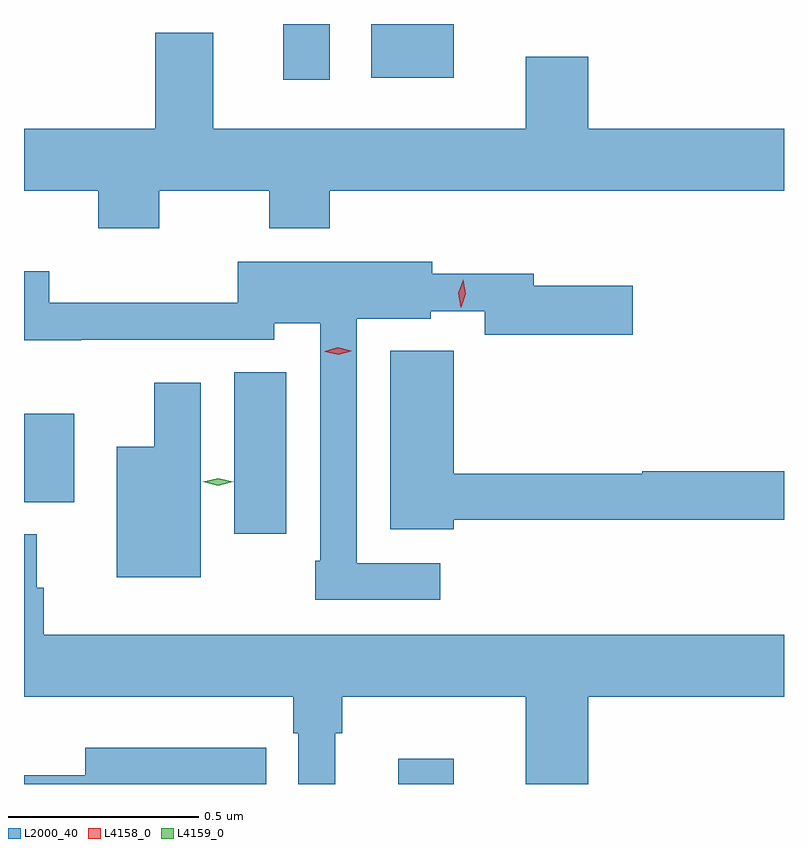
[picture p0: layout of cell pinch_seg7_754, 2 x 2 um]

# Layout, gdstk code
import gdstk
lib = gdstk.Library(unit=1e-6, precision=1e-09)
def R(c, l, rs):  # rectangles x0, y0, x1, y1
    for r in rs: c.add(gdstk.rectangle(r[:2], r[2:], *l))
def P(c, l, *ps):  # polygons
    for p in ps: c.add(gdstk.Polygon(p, *l))
L2000_40 = (2000, 40)
L4158_0 = (4158, 0)
L4159_0 = (4159, 0)

pinch_seg7_754 = lib.new_cell('pinch_seg7_754')
R(pinch_seg7_754, L2000_40, [(296.54,999.055,296.686,999.121), (296.108,999.714,296.245,1000.139), (295.555,999.797,295.687,1000.03), (296.237,1000.908,296.359,1001.055), (296.469,1000.913,296.686,1001.055)])
P(pinch_seg7_754, L2000_40, [(295.911,1000.616),(296.2,1000.616),(296.2,1000.517),(296.36,1000.517),(296.36,1000.616),(297.555,1000.616),(297.555,1000.78),(297.04,1000.78),(297.04,1000.969),(296.876,1000.969),(296.876,1000.78),(296.053,1000.78),(296.053,1001.032),(295.901,1001.032),(295.901,1000.78),(295.555,1000.78),(295.555,1000.616),(295.751,1000.616),(295.751,1000.517),(295.911,1000.517)],
  [(296.65,999.636),(296.43,999.636),(296.43,1000.28),(296.625,1000.28),(296.625,1000.299),(296.768,1000.299),(296.768,1000.237),(297.157,1000.237),(297.157,1000.366),(296.896,1000.366),(296.896,1000.398),(296.629,1000.398),(296.629,1000.429),(296.118,1000.429),(296.118,1000.322),(295.622,1000.322),(295.622,1000.405),(295.555,1000.405),(295.555,1000.223),(295.705,1000.223),(295.705,1000.224),(296.214,1000.224),(296.214,1000.268),(296.334,1000.268),(296.334,999.643),(296.322,999.643),(296.322,999.54),(296.65,999.54)],
  [(296.686,999.75),(297.555,999.75),(297.555,999.878),(297.182,999.878),(297.182,999.871),(296.686,999.871),(296.686,1000.195),(296.519,1000.195),(296.519,999.725),(296.686,999.725)],
  [(296.02,1000.111),(295.898,1000.111),(295.898,999.943),(295.799,999.943),(295.799,999.599),(296.02,999.599)],
  [(295.589,999.572),(295.589,999.712),(295.555,999.712),(295.555,999.284),(296.264,999.284),(296.264,999.188),(296.277,999.188),(296.277,999.055),(296.374,999.055),(296.374,999.188),(296.393,999.188),(296.393,999.284),(296.876,999.284),(296.876,999.055),(297.04,999.055),(297.04,999.284),(297.555,999.284),(297.555,999.448),(295.607,999.448),(295.607,999.572)],
  [(296.192,999.15),(296.084,999.15),(296.084,999.151),(295.716,999.151),(295.716,999.078),(295.555,999.078),(295.555,999.055),(296.192,999.055)])
P(pinch_seg7_754, L4158_0, [(296.704,1000.31),(296.704,1000.31),(296.698,1000.347),(296.711,1000.382),(296.711,1000.382),(296.711,1000.382),(296.718,1000.345),(296.705,1000.31)],
  [(296.382,1000.184),(296.346,1000.193),(296.346,1000.193),(296.346,1000.194),(296.381,1000.204),(296.416,1000.195),(296.416,1000.195),(296.416,1000.194)])
P(pinch_seg7_754, L4159_0, [(296.066,999.84),(296.025,999.85),(296.025,999.85),(296.025,999.85),(296.066,999.86),(296.106,999.85),(296.107,999.85),(296.106,999.85)])

lib.write_gds('pinch_seg7_754.gds')
